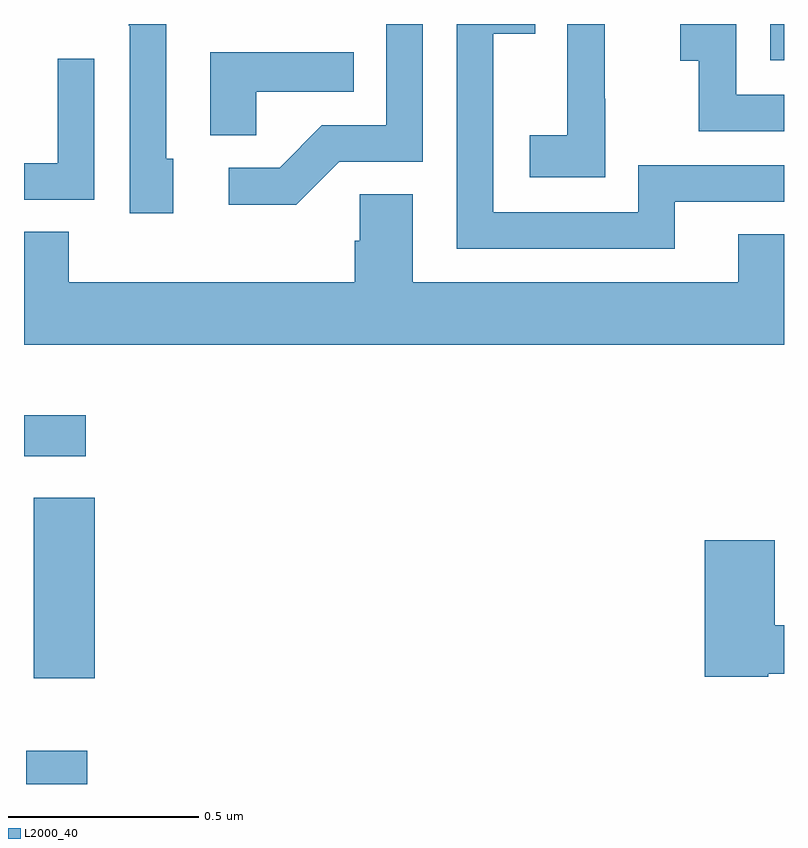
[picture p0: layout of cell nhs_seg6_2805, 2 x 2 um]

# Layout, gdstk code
import gdstk
lib = gdstk.Library(unit=1e-6, precision=1e-09)
def R(c, l, rs):  # rectangles x0, y0, x1, y1
    for r in rs: c.add(gdstk.rectangle(r[:2], r[2:], *l))
def P(c, l, *ps):  # polygons
    for p in ps: c.add(gdstk.Polygon(p, *l))
L2000_40 = (2000, 40)

nhs_seg6_2805 = lib.new_cell('nhs_seg6_2805')
R(nhs_seg6_2805, L2000_40, [(148.006,959.5,148.166,959.587), (148.025,959.778,148.186,960.253), (148,960.362,148.162,960.47), (149.964,961.404,150,961.5)])
P(nhs_seg6_2805, L2000_40, [(148.83,961.137),(149.049,961.137),(149.049,961.5),(148.953,961.5),(148.953,961.233),(148.784,961.233),(148.673,961.122),(148.539,961.122),(148.539,961.025),(148.717,961.025)],
  [(148.393,961.146),(148.374,961.146),(148.374,961.5),(148.276,961.5),(148.276,961.495),(148.278,961.495),(148.278,961.002),(148.393,961.002)],
  [(149.713,961.032),(150,961.032),(150,961.128),(149.616,961.128),(149.616,961.005),(149.235,961.005),(149.235,961.474),(149.345,961.474),(149.345,961.5),(149.139,961.5),(149.139,960.909),(149.713,960.909)],
  [(149.529,961.303),(149.528,961.303),(149.528,961.5),(149.43,961.5),(149.43,961.436),(149.429,961.436),(149.429,961.207),(149.331,961.207),(149.331,961.097),(149.529,961.097)],
  [(150,961.314),(149.874,961.314),(149.874,961.5),(149.727,961.5),(149.727,961.403),(149.776,961.403),(149.776,961.218),(150,961.218)],
  [(148.611,961.322),(148.868,961.322),(148.868,961.426),(148.49,961.426),(148.49,961.207),(148.611,961.207)],
  [(148.185,961.408),(148.089,961.408),(148.089,961.134),(148,961.134),(148,961.038),(148.185,961.038)],
  [(150,960.947),(149.879,960.947),(149.879,960.82),(149.023,960.82),(149.023,961.052),(148.884,961.052),(148.884,960.929),(148.871,960.929),(148.871,960.82),(148.118,960.82),(148.118,960.953),(148,960.953),(148,960.656),(150,960.656)],
  [(149.958,959.79),(150,959.79),(150,959.918),(149.975,959.918),(149.975,960.142),(149.792,960.142),(149.792,959.782),(149.958,959.782)])

lib.write_gds('nhs_seg6_2805.gds')
